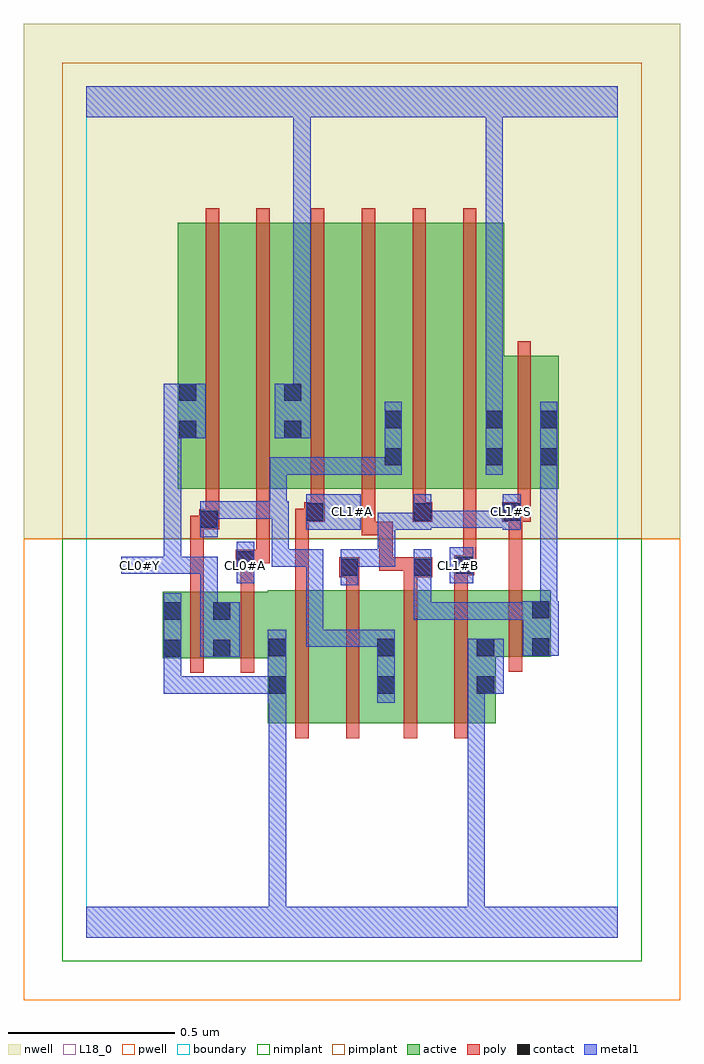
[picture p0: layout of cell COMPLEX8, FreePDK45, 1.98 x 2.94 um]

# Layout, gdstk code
import gdstk
lib = gdstk.Library(unit=1e-6, precision=1e-09)
def R(c, l, rs):  # rectangles x0, y0, x1, y1
    for r in rs: c.add(gdstk.rectangle(r[:2], r[2:], *l))
def A(c, l, x, y, w, h, nx, ny, dx, dy):  # array of equal rectangles
    R(c, l, [(x+i*dx, y+j*dy, x+i*dx+w, y+j*dy+h) for i in range(nx) for j in range(ny)])
active = (1, 0)
pwell = (2, 0)
nwell = (3, 0)
nimplant = (4, 0)
pimplant = (5, 0)
poly = (9, 0)
contact = (10, 0)
metal1 = (11, 0)
L18_0 = (18, 0)
boundary = (235, 0)

complex8 = lib.new_cell('COMPLEX8')
R(complex8, active, [(0.546,0.644,0.606,0.902), (0.546,0.644,0.726,1.044), (0.726,0.644,0.932,1.044), (0.872,0.644,1.052,1.044), (1.052,0.644,1.232,1.044), (1.172,0.644,1.232,0.902), (0.872,0.73,0.932,0.902), (0.23,0.84,0.29,1.04), (0.23,0.84,0.438,1.04), (0.378,0.84,0.438,1.012), (0.378,0.84,0.606,1.04), (1.172,0.844,1.398,1.044), (1.338,0.844,1.398,1.044), (0.276,1.35,0.456,2.15), (0.276,1.35,0.336,2.044), (0.456,1.35,0.652,2.15), (0.592,1.35,0.652,2.044), (0.592,1.35,0.774,2.15), (0.774,1.35,0.954,2.15), (0.894,1.35,1.078,2.15), (0.894,1.35,0.954,2.044), (1.078,1.35,1.258,2.15), (1.198,1.35,1.258,1.644), (1.198,1.35,1.422,1.75), (1.362,1.35,1.422,1.644)])
R(complex8, pwell, [(-0.188,-0.188,1.788,1.2)])
R(complex8, nwell, [(-0.188,1.2,1.788,2.748)])
R(complex8, nimplant, [(-0.072,-0.072,1.672,1.2)])
R(complex8, pimplant, [(-0.072,1.2,1.672,2.632)])
A(complex8, poly, 0.83, 1.306, 0.04, 0.888, 3, 1, 0.152, 0)
R(complex8, poly, [(0.63,0.6,0.67,1.088), (0.782,0.6,0.822,1.088), (0.956,0.6,0.996,1.088), (1.108,0.6,1.148,1.088), (0.314,0.796,0.354,1.084), (0.466,0.796,0.506,1.084), (1.272,0.8,1.312,1.088), (0.314,1.044,0.354,1.268), (0.466,1.044,0.506,1.146), (0.63,1.048,0.67,1.29), (0.782,1.048,0.822,1.124), (0.956,1.048,0.996,1.124), (1.108,1.048,1.148,1.13), (1.272,1.048,1.312,1.29), (0.762,1.084,0.822,1.144), (0.956,1.084,1.042,1.144), (1.108,1.09,1.168,1.15), (0.882,1.104,0.922,1.144), (0.882,1.104,0.996,1.144), (0.882,1.104,0.922,1.25), (0.45,1.106,0.51,1.166), (1.128,1.11,1.168,1.15), (1.128,1.11,1.174,1.15), (1.134,1.11,1.174,1.346), (0.47,1.126,0.51,1.166), (0.47,1.126,0.552,1.166), (0.512,1.126,0.552,1.346), (0.83,1.21,0.87,1.25), (0.83,1.21,0.922,1.25), (0.83,1.21,0.87,1.346), (0.882,1.21,0.922,1.25), (0.314,1.228,0.38,1.268), (0.34,1.228,0.38,1.268), (0.34,1.228,0.4,1.288), (0.36,1.248,0.4,1.346), (0.63,1.25,0.696,1.29), (0.656,1.25,0.696,1.29), (0.656,1.25,0.718,1.31), (0.982,1.25,1.042,1.31), (1.252,1.25,1.338,1.31), (1.272,1.25,1.312,1.29), (1.272,1.25,1.312,1.29), (0.676,1.27,0.716,1.346), (0.982,1.27,1.022,1.346), (1.298,1.27,1.338,1.346), (0.36,1.306,0.4,2.194), (0.512,1.306,0.552,2.194), (0.676,1.306,0.716,2.194), (1.298,1.306,1.338,1.794)])
R(complex8, contact, [(0.55,0.734,0.602,0.786), (0.876,0.734,0.928,0.786), (1.176,0.734,1.228,0.786), (0.234,0.844,0.286,0.896), (0.382,0.844,0.434,0.896), (0.55,0.846,0.602,0.898), (0.876,0.846,0.928,0.898), (1.176,0.846,1.228,0.898), (1.342,0.848,1.394,0.9), (0.234,0.956,0.286,1.008), (0.382,0.956,0.434,1.008), (1.342,0.96,1.394,1.012), (0.766,1.088,0.818,1.14), (0.986,1.088,1.038,1.14), (1.112,1.094,1.164,1.146), (0.454,1.11,0.506,1.162), (0.344,1.232,0.396,1.284), (0.662,1.254,0.714,1.306), (0.986,1.254,1.038,1.306), (1.256,1.254,1.308,1.306), (0.898,1.42,0.95,1.472), (1.202,1.42,1.254,1.472), (1.366,1.42,1.418,1.472), (0.28,1.502,0.332,1.554), (0.596,1.502,0.648,1.554), (0.898,1.532,0.95,1.584), (1.202,1.532,1.254,1.584), (1.366,1.532,1.418,1.584), (0.28,1.614,0.332,1.666), (0.596,1.614,0.648,1.666)])
R(complex8, metal1, [(0,0,1.6,0.092), (0.55,0.04,0.602,0.092), (0.55,0.04,0.602,0.092), (0.55,0.04,0.602,0.092), (0.55,0.04,0.602,0.092), (0.55,0.04,0.602,0.092), (0.55,0.04,0.602,0.092), (0.55,0.04,0.602,0.092), (0.55,0.04,0.602,0.092), (0.55,0.04,0.602,0.092), (0.55,0.04,0.602,0.092), (0.55,0.04,0.602,0.092), (0.55,0.04,0.602,0.092), (0.55,0.04,0.602,0.758), (1.148,0.04,1.2,0.092), (1.148,0.04,1.2,0.092), (1.148,0.04,1.2,0.092), (1.148,0.04,1.2,0.092), (1.148,0.04,1.2,0.092), (1.148,0.04,1.2,0.092), (1.148,0.04,1.2,0.092), (1.148,0.04,1.2,0.092), (1.148,0.04,1.2,0.092), (1.148,0.04,1.2,0.092), (1.148,0.04,1.2,0.092), (1.148,0.04,1.2,0.092), (1.148,0.04,1.2,0.786), (0.546,0.706,0.602,0.926), (0.876,0.706,0.928,0.926), (0.234,0.734,0.286,0.786), (0.234,0.734,0.286,0.786), (0.234,0.734,0.286,0.786), (0.234,0.734,0.396,0.786), (0.234,0.734,0.286,0.868), (0.344,0.734,0.396,0.786), (0.344,0.734,0.396,0.786), (0.344,0.734,0.396,0.786), (0.344,0.734,0.598,0.786), (0.546,0.734,0.598,0.786), (0.546,0.734,0.598,0.786), (1.148,0.734,1.256,0.898), (0.234,0.816,0.286,1.036), (0.344,0.844,0.462,1.008), (1.314,0.848,1.422,1.012), (0.662,0.874,0.714,0.926), (0.662,0.874,0.928,0.926), (0.662,0.874,0.714,1.168), (0.876,0.874,0.928,0.926), (0.876,0.874,0.928,0.926), (0.344,0.956,0.396,1.146), (0.986,0.956,1.038,1.008), (0.986,0.956,1.196,1.008), (0.986,0.956,1.038,1.112), (1.144,0.956,1.196,1.008), (1.144,0.956,1.196,1.008), (1.144,0.956,1.196,1.008), (1.144,0.956,1.366,1.008), (1.314,0.956,1.366,1.008), (1.314,0.956,1.366,1.008), (1.366,0.96,1.418,1.444), (0.766,1.06,0.818,1.168), (0.986,1.06,1.038,1.112), (0.986,1.06,1.038,1.112), (0.986,1.06,1.038,1.168), (0.454,1.066,0.506,1.19), (1.094,1.066,1.164,1.174), (0.106,1.094,0.286,1.146), (0.234,1.094,0.286,1.146), (0.234,1.094,0.286,1.146), (0.234,1.094,0.286,1.146), (0.234,1.094,0.286,1.146), (0.234,1.094,0.396,1.146), (0.234,1.094,0.286,1.554), (0.344,1.094,0.396,1.146), (0.558,1.116,0.61,1.168), (0.558,1.116,0.708,1.168), (0.558,1.116,0.61,1.312), (0.656,1.116,0.708,1.168), (0.656,1.116,0.714,1.168), (0.662,1.116,0.714,1.168), (0.766,1.116,0.93,1.168), (0.878,1.116,0.93,1.168), (0.878,1.116,0.93,1.278), (0.344,1.204,0.396,1.312), (0.662,1.226,0.826,1.334), (0.878,1.226,0.93,1.278), (0.878,1.226,1.038,1.278), (0.986,1.226,1.038,1.334), (1.254,1.226,1.308,1.334), (0.986,1.232,1.04,1.284), (0.988,1.232,1.04,1.284), (0.988,1.232,1.15,1.284), (1.098,1.232,1.15,1.284), (1.098,1.232,1.15,1.284), (1.098,1.232,1.15,1.284), (1.098,1.232,1.306,1.284), (0.344,1.26,0.396,1.312), (0.344,1.26,0.396,1.312), (0.344,1.26,0.566,1.312), (0.514,1.26,0.566,1.312), (0.514,1.26,0.604,1.312), (0.552,1.26,0.61,1.312), (0.552,1.26,0.604,1.444), (0.552,1.392,0.604,1.444), (0.552,1.392,0.708,1.444), (0.656,1.392,0.708,1.444), (0.656,1.392,0.818,1.444), (0.766,1.392,0.818,1.444), (0.766,1.392,0.818,1.444), (0.766,1.392,0.818,1.444), (0.766,1.392,0.95,1.444), (0.898,1.392,0.95,1.612), (1.202,1.392,1.254,1.612), (1.366,1.392,1.418,1.444), (1.366,1.392,1.418,1.444), (1.366,1.392,1.418,1.444), (1.366,1.392,1.418,1.444), (1.366,1.392,1.418,1.612), (0.234,1.502,0.36,1.666), (0.568,1.502,0.676,1.666), (1.202,1.56,1.254,1.612), (1.202,1.56,1.254,1.612), (1.202,1.56,1.254,1.612), (1.202,1.56,1.254,1.612), (1.202,1.56,1.254,1.612), (1.202,1.56,1.254,1.612), (1.202,1.56,1.254,1.612), (1.202,1.56,1.254,1.612), (1.202,1.56,1.254,2.52), (0.624,1.614,0.676,1.666), (0.624,1.614,0.676,1.666), (0.624,1.614,0.676,1.666), (0.624,1.614,0.676,1.666), (0.624,1.614,0.676,1.666), (0.624,1.614,0.676,1.666), (0.624,1.614,0.676,1.666), (0.624,1.614,0.676,1.666), (0.624,1.614,0.676,2.52), (0,2.468,1.6,2.56)])
A(complex8, L18_0, 0.234, 1.094, 0.052, 0.052, 3, 1, 0.11, 0)
R(complex8, L18_0, [(0,0,1.6,0.092), (0.55,0.04,0.602,0.092), (0.55,0.04,0.602,0.092), (0.55,0.04,0.602,0.092), (0.55,0.04,0.602,0.092), (0.55,0.04,0.602,0.092), (0.55,0.04,0.602,0.092), (0.55,0.04,0.602,0.092), (0.55,0.04,0.602,0.092), (0.55,0.04,0.602,0.092), (0.55,0.04,0.602,0.092), (0.55,0.04,0.602,0.092), (0.55,0.04,0.602,0.092), (0.55,0.04,0.602,0.758), (1.148,0.04,1.2,0.092), (1.148,0.04,1.2,0.092), (1.148,0.04,1.2,0.092), (1.148,0.04,1.2,0.092), (1.148,0.04,1.2,0.092), (1.148,0.04,1.2,0.092), (1.148,0.04,1.2,0.092), (1.148,0.04,1.2,0.092), (1.148,0.04,1.2,0.092), (1.148,0.04,1.2,0.092), (1.148,0.04,1.2,0.092), (1.148,0.04,1.2,0.092), (1.148,0.04,1.2,0.786), (0.546,0.706,0.602,0.926), (0.234,0.734,0.286,0.786), (0.234,0.734,0.286,0.786), (0.234,0.734,0.286,0.786), (0.234,0.734,0.286,0.868), (0.234,0.734,0.396,0.786), (0.344,0.734,0.396,0.786), (0.344,0.734,0.396,0.786), (0.344,0.734,0.396,0.786), (0.344,0.734,0.598,0.786), (0.546,0.734,0.598,0.786), (0.546,0.734,0.598,0.786), (1.148,0.734,1.256,0.898), (0.234,0.816,0.286,1.036), (0.344,0.844,0.462,1.008), (0.344,0.956,0.396,1.146), (0.766,1.06,0.818,1.168), (0.454,1.066,0.506,1.19), (1.094,1.066,1.164,1.174), (0.106,1.094,0.286,1.146), (0.134,1.094,0.186,1.146), (0.234,1.094,0.286,1.146), (0.234,1.094,0.286,1.146), (0.234,1.094,0.286,1.146), (0.234,1.094,0.286,1.554), (0.234,1.094,0.396,1.146), (1.094,1.094,1.146,1.146), (0.766,1.116,0.93,1.168), (0.878,1.116,0.93,1.168), (0.878,1.116,0.93,1.278), (0.662,1.226,0.826,1.334), (0.878,1.226,0.93,1.278), (0.878,1.226,1.038,1.278), (0.986,1.226,1.038,1.334), (1.254,1.226,1.308,1.334), (0.986,1.232,1.04,1.284), (0.988,1.232,1.04,1.284), (0.988,1.232,1.15,1.284), (1.098,1.232,1.15,1.284), (1.098,1.232,1.15,1.284), (1.098,1.232,1.15,1.284), (1.098,1.232,1.306,1.284), (0.774,1.254,0.826,1.306), (1.254,1.254,1.306,1.306), (1.202,1.392,1.254,1.612), (0.234,1.502,0.36,1.666), (0.568,1.502,0.676,1.666), (1.202,1.56,1.254,1.612), (1.202,1.56,1.254,1.612), (1.202,1.56,1.254,1.612), (1.202,1.56,1.254,1.612), (1.202,1.56,1.254,1.612), (1.202,1.56,1.254,1.612), (1.202,1.56,1.254,1.612), (1.202,1.56,1.254,1.612), (1.202,1.56,1.254,2.52), (0.624,1.614,0.676,1.666), (0.624,1.614,0.676,1.666), (0.624,1.614,0.676,1.666), (0.624,1.614,0.676,1.666), (0.624,1.614,0.676,1.666), (0.624,1.614,0.676,1.666), (0.624,1.614,0.676,1.666), (0.624,1.614,0.676,1.666), (0.624,1.614,0.676,2.52), (0,2.468,1.6,2.56)])
R(complex8, boundary, [(0,0,1.6,2.56)])
complex8.add(gdstk.Label('CL0#A', (0.48,1.12), layer=11, texttype=0))
complex8.add(gdstk.Label('CL0#Y', (0.16,1.12), layer=11, texttype=0))
complex8.add(gdstk.Label('CL1#A', (0.8,1.28), layer=11, texttype=0))
complex8.add(gdstk.Label('CL1#B', (1.12,1.12), layer=11, texttype=0))
complex8.add(gdstk.Label('CL1#S', (1.28,1.28), layer=11, texttype=0))

lib.write_gds('COMPLEX8.gds')
